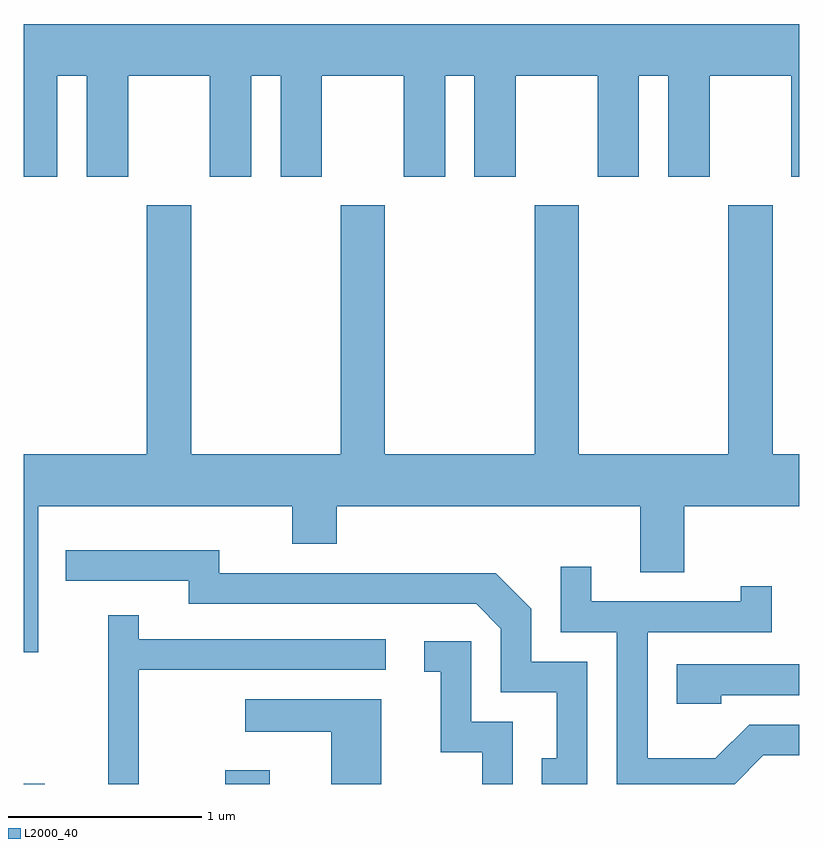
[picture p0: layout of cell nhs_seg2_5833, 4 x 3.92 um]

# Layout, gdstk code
import gdstk
lib = gdstk.Library(unit=1e-6, precision=1e-09)
def R(c, l, rs):  # rectangles x0, y0, x1, y1
    for r in rs: c.add(gdstk.rectangle(r[:2], r[2:], *l))
def P(c, l, *ps):  # polygons
    for p in ps: c.add(gdstk.Polygon(p, *l))
L2000_40 = (2000, 40)

nhs_seg2_5833 = lib.new_cell('nhs_seg2_5833')
R(nhs_seg2_5833, L2000_40, [(357.611,1015.802,357.719,1015.804), (358.651,1015.802,358.879,1015.874)])
P(nhs_seg2_5833, L2000_40, [(357.784,1019.456),(357.936,1019.456),(357.936,1018.936),(358.149,1018.936),(358.149,1019.456),(358.571,1019.456),(358.571,1018.936),(358.784,1018.936),(358.784,1019.456),(358.936,1019.456),(358.936,1018.936),(359.149,1018.936),(359.149,1019.456),(359.571,1019.456),(359.571,1018.936),(359.784,1018.936),(359.784,1019.456),(359.936,1019.456),(359.936,1018.936),(360.149,1018.936),(360.149,1019.456),(360.571,1019.456),(360.571,1018.936),(360.784,1018.936),(360.784,1019.456),(360.936,1019.456),(360.936,1018.936),(361.149,1018.936),(361.149,1019.456),(361.571,1019.456),(361.571,1018.936),(361.611,1018.936),(361.611,1019.724),(357.611,1019.724),(357.611,1018.936),(357.784,1018.936)],
  [(357.684,1017.236),(358.996,1017.236),(358.996,1017.041),(359.224,1017.041),(359.224,1017.236),(360.791,1017.236),(360.791,1016.896),(361.019,1016.896),(361.019,1017.236),(361.611,1017.236),(361.611,1017.504),(361.474,1017.504),(361.474,1018.789),(361.246,1018.789),(361.246,1017.504),(360.474,1017.504),(360.474,1018.789),(360.246,1018.789),(360.246,1017.504),(359.474,1017.504),(359.474,1018.789),(359.246,1018.789),(359.246,1017.504),(358.474,1017.504),(358.474,1018.789),(358.246,1018.789),(358.246,1017.504),(357.611,1017.504),(357.611,1016.483),(357.684,1016.483)],
  [(360.519,1016.434),(360.229,1016.434),(360.229,1016.707),(360.047,1016.889),(358.619,1016.889),(358.619,1017.009),(357.828,1017.009),(357.828,1016.851),(358.461,1016.851),(358.461,1016.731),(359.944,1016.731),(360.071,1016.604),(360.071,1016.276),(360.361,1016.276),(360.361,1015.934),(360.283,1015.934),(360.283,1015.802),(360.519,1015.802)],
  [(361.427,1015.951),(361.611,1015.951),(361.611,1016.109),(361.354,1016.109),(361.179,1015.934),(360.829,1015.934),(360.829,1016.586),(361.469,1016.586),(361.469,1016.823),(361.311,1016.823),(361.311,1016.744),(360.539,1016.744),(360.539,1016.923),(360.381,1016.923),(360.381,1016.586),(360.671,1016.586),(360.671,1015.802),(361.278,1015.802)],
  [(358.204,1016.391),(359.478,1016.391),(359.478,1016.549),(358.204,1016.549),(358.204,1016.673),(358.046,1016.673),(358.046,1015.802),(358.204,1015.802)],
  [(360.134,1016.124),(359.919,1016.124),(359.919,1016.539),(359.678,1016.539),(359.678,1016.381),(359.761,1016.381),(359.761,1015.966),(359.976,1015.966),(359.976,1015.802),(360.134,1015.802)],
  [(361.209,1016.261),(361.611,1016.261),(361.611,1016.419),(360.981,1016.419),(360.981,1016.216),(361.209,1016.216)],
  [(359.454,1016.239),(358.753,1016.239),(358.753,1016.071),(359.196,1016.071),(359.196,1015.802),(359.454,1015.802)])

lib.write_gds('nhs_seg2_5833.gds')
